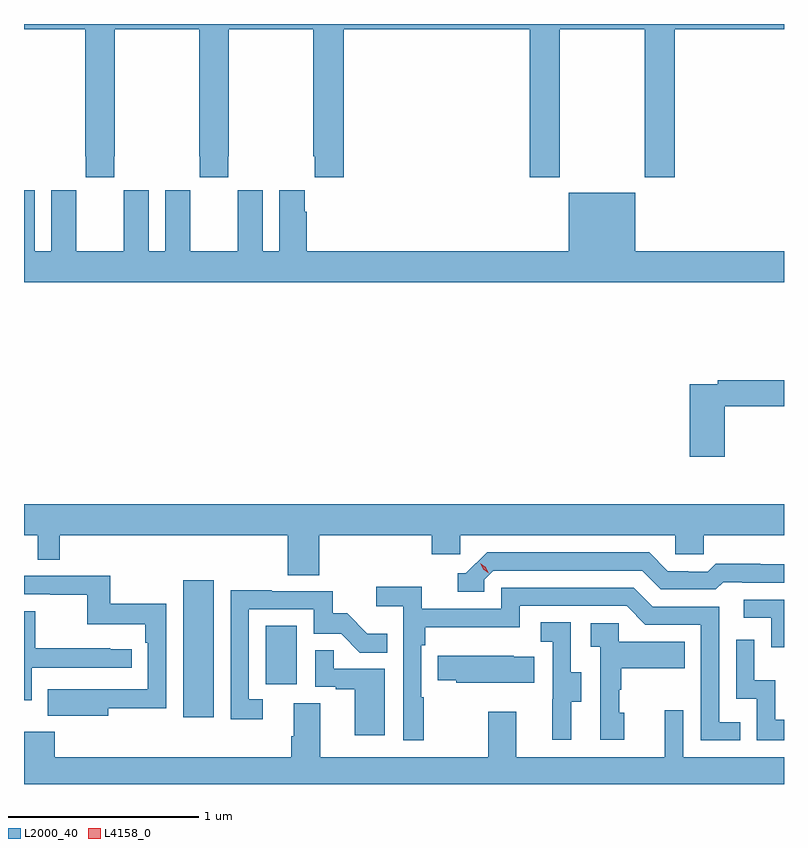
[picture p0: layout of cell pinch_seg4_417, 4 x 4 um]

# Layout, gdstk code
import gdstk
lib = gdstk.Library(unit=1e-6, precision=1e-09)
def R(c, l, rs):  # rectangles x0, y0, x1, y1
    for r in rs: c.add(gdstk.rectangle(r[:2], r[2:], *l))
def P(c, l, *ps):  # polygons
    for p in ps: c.add(gdstk.Polygon(p, *l))
L2000_40 = (2000, 40)
L4158_0 = (4158, 0)

pinch_seg4_417 = lib.new_cell('pinch_seg4_417')
R(pinch_seg4_417, L2000_40, [(902.369,785.208,902.53,785.929), (902.804,785.382,902.968,785.689)])
P(pinch_seg4_417, L2000_40, [(904.958,788.828),(905.532,788.828),(905.532,788.856),(901.532,788.856),(901.532,788.828),(901.855,788.828),(901.855,788.161),(901.857,788.161),(901.857,788.049),(902.007,788.049),(902.007,788.161),(902.01,788.161),(902.01,788.828),(902.455,788.828),(902.455,788.161),(902.457,788.161),(902.457,788.049),(902.607,788.049),(902.607,788.161),(902.61,788.161),(902.61,788.828),(903.055,788.828),(903.055,788.161),(903.061,788.161),(903.061,788.049),(903.215,788.049),(903.215,788.828),(904.193,788.828),(904.193,788.049),(904.353,788.049),(904.353,788.828),(904.798,788.828),(904.798,788.049),(904.958,788.049)],
  [(905.532,787.66),(904.75,787.66),(904.75,787.969),(904.4,787.969),(904.4,787.66),(903.02,787.66),(903.02,787.868),(903.01,787.868),(903.01,787.981),(902.876,787.981),(902.876,787.66),(902.788,787.66),(902.788,787.981),(902.658,787.981),(902.658,787.868),(902.657,787.868),(902.657,787.66),(902.407,787.66),(902.407,787.868),(902.406,787.868),(902.406,787.981),(902.276,787.981),(902.276,787.66),(902.188,787.66),(902.188,787.981),(902.058,787.981),(902.058,787.868),(902.057,787.868),(902.057,787.66),(901.807,787.66),(901.807,787.868),(901.806,787.868),(901.806,787.981),(901.676,787.981),(901.676,787.66),(901.588,787.66),(901.588,787.981),(901.532,787.981),(901.532,787.496),(905.532,787.496)],
  [(905.219,786.844),(905.532,786.844),(905.532,786.98),(905.182,786.98),(905.182,786.96),(905.036,786.96),(905.036,786.579),(905.219,786.579)],
  [(903.086,786.164),(903.677,786.164),(903.677,786.066),(903.828,786.066),(903.828,786.164),(904.959,786.164),(904.959,786.066),(905.109,786.066),(905.109,786.164),(905.532,786.164),(905.532,786.328),(901.532,786.328),(901.532,786.164),(901.605,786.164),(901.605,786.037),(901.721,786.037),(901.721,786.164),(902.921,786.164),(902.921,785.956),(903.086,785.956)],
  [(903.954,785.931),(904.002,785.979),(904.785,785.979),(904.884,785.88),(905.173,785.88),(905.212,785.919),(905.311,785.919),(905.311,785.916),(905.532,785.916),(905.532,786.013),(905.406,786.013),(905.406,786.016),(905.173,786.016),(905.131,785.973),(905.028,785.973),(905.028,785.976),(904.921,785.976),(904.822,786.075),(903.969,786.075),(903.858,785.964),(903.815,785.964),(903.815,785.868),(903.954,785.868)],
  [(901.975,785.254),(902.28,785.254),(902.28,785.806),(901.987,785.806),(901.987,785.952),(901.532,785.952),(901.532,785.856),(901.669,785.856),(901.669,785.851),(901.866,785.851),(901.866,785.696),(902.171,785.696),(902.171,785.6),(902.184,785.6),(902.184,785.355),(901.871,785.355),(901.871,785.356),(901.657,785.356),(901.657,785.216),(901.975,785.216)],
  [(903.637,785.312),(903.624,785.312),(903.624,785.585),(903.644,785.585),(903.644,785.681),(904.14,785.681),(904.14,785.793),(904.704,785.793),(904.803,785.694),(905.094,785.694),(905.094,785.085),(905.303,785.085),(905.303,785.181),(905.19,785.181),(905.19,785.79),(904.84,785.79),(904.741,785.889),(904.044,785.889),(904.044,785.778),(903.626,785.778),(903.626,785.894),(903.387,785.894),(903.387,785.792),(903.528,785.792),(903.528,785.085),(903.637,785.085)],
  [(902.788,785.301),(902.715,785.301),(902.715,785.775),(903.057,785.775),(903.057,785.646),(903.201,785.646),(903.299,785.548),(903.443,785.548),(903.443,785.647),(903.339,785.647),(903.232,785.754),(903.156,785.754),(903.156,785.871),(902.837,785.871),(902.837,785.876),(902.619,785.876),(902.619,785.196),(902.788,785.196)],
  [(905.532,785.826),(905.319,785.826),(905.319,785.73),(905.466,785.73),(905.466,785.577),(905.532,785.577)],
  [(901.572,785.469),(902.098,785.469),(902.098,785.565),(901.985,785.565),(901.985,785.57),(901.592,785.57),(901.592,785.766),(901.532,785.766),(901.532,785.297),(901.572,785.297)],
  [(904.411,785.29),(904.465,785.29),(904.465,785.445),(904.41,785.445),(904.41,785.708),(904.251,785.708),(904.251,785.605),(904.314,785.605),(904.314,785.301),(904.313,785.301),(904.313,785.088),(904.411,785.088)],
  [(904.69,785.232),(904.665,785.232),(904.665,785.351),(904.675,785.351),(904.675,785.465),(905.009,785.465),(905.009,785.605),(904.662,785.605),(904.662,785.703),(904.515,785.703),(904.515,785.579),(904.566,785.579),(904.566,785.088),(904.69,785.088)],
  [(905.532,785.194),(905.486,785.194),(905.486,785.402),(905.376,785.402),(905.376,785.614),(905.28,785.614),(905.28,785.304),(905.388,785.304),(905.388,785.085),(905.532,785.085)],
  [(903.43,785.463),(903.161,785.463),(903.161,785.561),(903.066,785.561),(903.066,785.367),(903.173,785.367),(903.173,785.355),(903.272,785.355),(903.272,785.112),(903.43,785.112)],
  [(904.217,785.527),(904.109,785.527),(904.109,785.53),(903.709,785.53),(903.709,785.401),(903.807,785.401),(903.807,785.39),(904.217,785.39)],
  [(905.532,784.996),(905.001,784.996),(905.001,785.245),(904.904,785.245),(904.904,784.996),(904.123,784.996),(904.123,785.236),(903.976,785.236),(903.976,784.996),(903.091,784.996),(903.091,785.282),(902.951,785.282),(902.951,785.108),(902.939,785.108),(902.939,784.996),(901.694,784.996),(901.694,785.131),(901.534,785.131),(901.534,784.996),(901.532,784.996),(901.532,784.856),(905.532,784.856)])
P(pinch_seg4_417, L4158_0, [(903.978,785.965),(903.948,785.985),(903.932,786.018),(903.932,786.018),(903.933,786.018),(903.963,785.998),(903.978,785.966),(903.978,785.965)])

lib.write_gds('pinch_seg4_417.gds')
